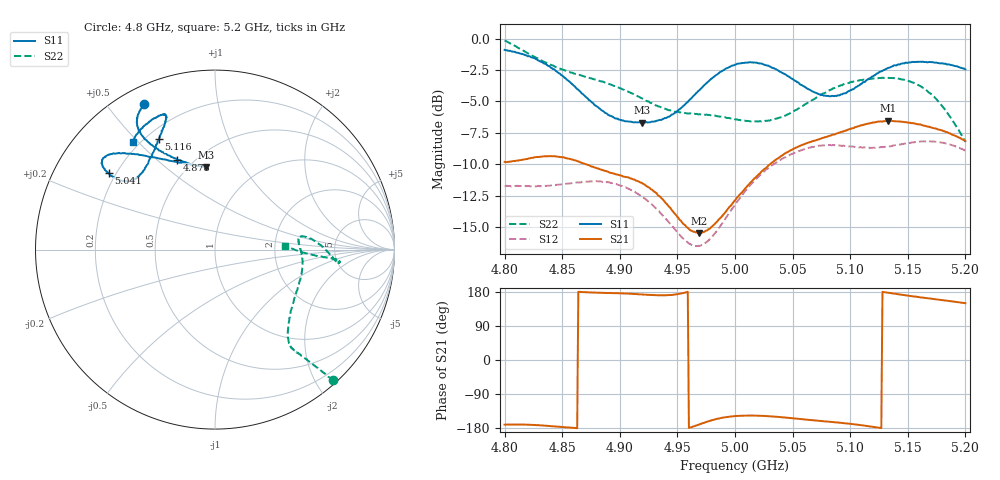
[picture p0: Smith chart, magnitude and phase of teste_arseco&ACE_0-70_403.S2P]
! Network Analyzer HP8722D
! Hewlett-Packard
! Data name: Linha & Wilkinson
! Saver's name: Rodrigo Anjos
! Comments: Teste da utilização de aquisição
! continua pelo VNA HP8722D
! Time and date: 8/5/2025 16:07
!  Frequency  S11  S21  S12  S22
# HZ  S  MA R 50
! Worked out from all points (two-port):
!   401 points, 4.8 GHz to 5.2 GHz, reference 50 ohm
!   highest |S21| = -6.54 dB at 5.133 GHz (marker M1); lowest = -15.5 dB at 4.969 GHz (marker M2)
!   |S21| within 3 dB of the highest: 4.822 GHz to 4.854 GHz (32.13 MHz wide, 0.664 % of centre); 5.037 GHz to end of sweep
!   lowest |S11| = -6.7 dB at 4.919 GHz (marker M3), VSWR 2.72, Z = 30 + j35 ohm
!   |S11| at or under -10 dB: nowhere
!   |S22| runs from -8.2 to -0.2 dB; largest |S21 - S12| = 0.83
!   S11 on the Smith chart (normalised r, x): 4.8 GHz: 0.07, +0.62; 4.878 GHz: 0.41, +0.59; 5.041 GHz: 0.17, +0.31; 5.116 GHz: 0.25, +0.59; 5.2 GHz: 0.17, +0.48
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4.8e9  0.9012 115.9  0.3229 -170.6  0.2583 -86.2  0.9827 -47.9
4.834e9  0.7968 122.5  0.3398 -173.0  0.2587 -77.2  0.8091 -50.0
4.849e9  0.7162 122.0  0.3375 -176.6  0.2623 -72.0  0.7553 -50.8
4.867e9  0.6043 117.7  0.3199 179.2  0.268 -67.7  0.7117 -51.8
4.878e9  0.5439 112.7  0.3068 177.9  0.2704 -66.6  0.6883 -52.1
4.902e9  0.472 100.0  0.2839 176.0  0.2591 -67.5  0.6288 -49.8
4.919e9  0.4624 96.1  0.2667 173.2  0.235 -69.4  0.5786 -44.7
4.934e9  0.4727 100.0  0.2365 170.7  0.2058 -69.9  0.5365 -36.9
4.958e9  0.5544 116.9  0.1777 178.8  0.1556 -58.8  0.5035 -21.2
4.969e9  0.6226 124.2  0.1682 -169.8  0.1495 -46.6  0.4999 -14.9
4.981e9  0.7007 130.5  0.1804 -158.1  0.1643 -33.1  0.4926 -8.7
5e9  0.7873 137.4  0.2266 -148.2  0.218 -21.5  0.4766 -0.3
5.021e9  0.7959 142.2  0.2892 -147.1  0.2841 -18.7  0.4685 6.4
5.041e9  0.7295 144.4  0.3426 -151.1  0.3325 -19.1  0.488 8.8
5.067e9  0.6166 141.9  0.3901 -158.7  0.3703 -21.3  0.5689 4.2
5.089e9  0.5944 132.3  0.4194 -165.0  0.3754 -24.5  0.6425 -2.6
5.116e9  0.6901 116.8  0.459 -174.9  0.3678 -27.5  0.6897 -6.1
5.133e9  0.7644 111.4  0.4712 177.4  0.3722 -29.3  0.6971 -5.6
5.134e9  0.7652 111.0  0.469 176.9  0.3725 -29.5  0.697 -5.5
5.161e9  0.8084 112.3  0.4552 165.2  0.3893 -35.9  0.6456 -4.3
5.18e9  0.7957 119.1  0.4306 158.1  0.3849 -41.9  0.5381 -3.0
5.2e9  0.7538 127.6  0.3908 149.9  0.3581 -47.2  0.388 3.3
